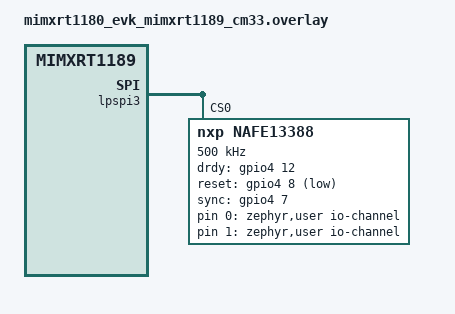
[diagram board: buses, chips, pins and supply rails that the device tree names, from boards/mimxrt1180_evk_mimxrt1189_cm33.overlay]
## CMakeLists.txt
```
# SPDX-License-Identifier: Apache-2.0

cmake_minimum_required(VERSION 3.28.0)

find_package(Zephyr REQUIRED HINTS $ENV{ZEPHYR_BASE})
project(nafe13388_sample)

target_sources(app PRIVATE src/main.c)
```

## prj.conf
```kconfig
CONFIG_ADC=y
CONFIG_SHELL=y
```

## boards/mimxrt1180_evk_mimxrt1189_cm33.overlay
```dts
/*
 * Copyright 2026 NXP
 *
 * SPDX-License-Identifier: Apache-2.0
 */

#include <zephyr/dt-bindings/adc/adc.h>
#include <zephyr/dt-bindings/adc/nafe13388.h>

/*
 * NAFE13388-UIM expansion board on the Arduino headers of the MIMXRT1180-EVK.
 *
 * Signal map, from the documents below. The UIM nets are on sheet 4 of the
 * UIM schematic (SCH-91005 rev C2), the EVK pads are in the EVK user manual
 * UM12021 rev 3.0, tables 32 to 35, and on sheet 26 of the EVK schematic
 * (SCH-50577 rev C4):
 *
 *   UIM net        UIM pin  Arduino  EVK pad
 *   MCU_SPI0_SCK   J2-5     D13      GPIO_SD_B1_01 (LPSPI3 SCK)
 *   MCU_SPI0_MISO  J2-6     D12      GPIO_SD_B1_03 (LPSPI3 SIN)
 *   MCU_SPI0_MOSI  J2-7     D11      GPIO_SD_B1_02 (LPSPI3 SOUT)
 *   ADC_SPI0_nCS   J2-8     D10      GPIO_SD_B1_00 (LPSPI3 PCS0)
 *   ADC_nRESET     J1-1     D7       GPIO_AD_08 (GPIO4 pin 8)
 *   ADC_SYNC       J1-2     D6       GPIO_AD_07 (GPIO4 pin 7)
 *   ADC_nDRDY      J1-4     D4       GPIO_AD_12 (GPIO4 pin 12)
 *   ADC_nINT       J1-5     D3       GPIO_AD_06 (GPIO4 pin 6)
 *
 * The acquisition time of a channel carries the ADC data rate code, here 19. It
 * only sets the conversion period when the second stage filter is on, so the
 * channels also select SINC1. A run on the board with the filter bypassed (the
 * default) converted a channel in about 220 us whatever the rate code was, which
 * is faster than the SPI transfer of a sequence at 500 kHz and made the continuous
 * reading report sequences as late. With code 19 and SINC1 one sequence of the two
 * channels takes about 20 ms on the board.
 *
 * ASSUMPTIONS, not shown by a document:
 * - The SPI address pin of the chip is tied low on the UIM (the schematic
 *   text shows GND on the same row as SPI_ADDR), so nxp,dev-addr is 0.
 * - DRDY is active high at the chip, although the UIM net is named nDRDY.
 *   The binding of the driver asks for an active high DRDY.
 * - 500 kHz is the SPI clock of the NXP example code for this board. The
 *   limit set by the digital isolators on the UIM is not known here.
 */
&pinctrl {
	pinmux_nafe13388_gpio: pinmux_nafe13388_gpio {
		group0 {
			pinmux = <&iomuxc_gpio_ad_06_gpio4_io06>,
				 <&iomuxc_gpio_ad_07_gpio4_io07>,
				 <&iomuxc_gpio_ad_08_gpio4_io08>,
				 <&iomuxc_gpio_ad_12_gpio4_io12>;
			drive-strength = "high";
			slew-rate = "fast";
		};
	};
};

&gpio4 {
	status = "okay";
};

&lpspi3 {
	status = "okay";
	pinctrl-0 = <&pinmux_lpspi3 &pinmux_nafe13388_gpio>;
	pinctrl-names = "default";

	nafe13388: nafe13388@0 {
		compatible = "nxp,nafe13388";
		reg = <0>;
		spi-max-frequency = <500000>;
		nxp,dev-addr = <0>;
		drdy-gpios = <&gpio4 12 GPIO_ACTIVE_HIGH>;
		reset-gpios = <&gpio4 8 GPIO_ACTIVE_LOW>;
		sync-gpios = <&gpio4 7 GPIO_ACTIVE_HIGH>;
		#address-cells = <1>;
		#size-cells = <0>;
		#io-channel-cells = <1>;

		/* Input AI1P against the analog common, read as a single ended voltage */
		channel@0 {
			reg = <0>;
			zephyr,gain = "ADC_GAIN_1";
			zephyr,reference = "ADC_REF_INTERNAL";
			zephyr,acquisition-time = <ADC_ACQ_TIME(ADC_ACQ_TIME_TICKS, 19)>;
			nxp,sinc = <NAFE13388_SINC1>;
			zephyr,resolution = <24>;
			zephyr,differential;
			zephyr,input-positive = <NAFE13388_HV_AI1>;
			zephyr,input-negative = <NAFE13388_HV_AICOM>;
		};

		/* Input AI2P against the analog common */
		channel@1 {
			reg = <1>;
			zephyr,gain = "ADC_GAIN_1";
			zephyr,reference = "ADC_REF_INTERNAL";
			zephyr,acquisition-time = <ADC_ACQ_TIME(ADC_ACQ_TIME_TICKS, 19)>;
			nxp,sinc = <NAFE13388_SINC1>;
			zephyr,resolution = <24>;
			zephyr,differential;
			zephyr,input-positive = <NAFE13388_HV_AI2>;
			zephyr,input-negative = <NAFE13388_HV_AICOM>;
		};
	};
};

/ {
	zephyr,user {
		io-channels = <&nafe13388 0>, <&nafe13388 1>;
	};
};
```

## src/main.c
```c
/*
 * Copyright 2026 NXP
 *
 * SPDX-License-Identifier: Apache-2.0
 */

/*
 * NAFE13388 sample. It shows three ways to read the chip:
 *
 * 1. One channel with the standard ADC API (adc_read_dt()).
 * 2. Two channels in one sequence with the standard ADC API (adc_read()).
 * 3. A continuous reading that calls a callback for every sequence, with the
 *    extension API of the driver (nafe13388_continuous_start()).
 *
 * The three readings run once at boot. Then the shell commands "nafe read",
 * "nafe seq" and "nafe cont" repeat them.
 */

#include <errno.h>
#include <stddef.h>
#include <stdint.h>
#include <zephyr/device.h>
#include <zephyr/devicetree.h>
#include <zephyr/drivers/adc.h>
#include <zephyr/drivers/adc/nafe13388.h>
#include <zephyr/kernel.h>
#include <zephyr/shell/shell.h>
#include <zephyr/shell/shell_uart.h>
#include <zephyr/sys/printk.h>
#include <zephyr/sys/util.h>

#if !DT_NODE_EXISTS(DT_PATH(zephyr_user)) || !DT_NODE_HAS_PROP(DT_PATH(zephyr_user), io_channels)
#error "No suitable devicetree overlay specified"
#endif

#define NUM_CHANNELS    2
#define SEQ_RESOLUTION  24
#define CONT_MAX        32
#define CONT_BOOT_COUNT 10
#define CONT_TIMEOUT    K_SECONDS(5)

/* The two channels of the overlay, io-channels of the zephyr,user node */
static const struct adc_dt_spec adc_channels[NUM_CHANNELS] = {
	ADC_DT_SPEC_GET_BY_IDX(DT_PATH(zephyr_user), 0),
	ADC_DT_SPEC_GET_BY_IDX(DT_PATH(zephyr_user), 1),
};

/* Print on the shell if there is one, else on the console */
#define SAY(sh, ...)                                                                               \
	do {                                                                                       \
		if ((sh) != NULL) {                                                                \
			shell_print((sh), __VA_ARGS__);                                            \
		} else {                                                                           \
			printk(__VA_ARGS__);                                                       \
			printk("\n");                                                              \
		}                                                                                  \
	} while (0)

/* Convert a raw value to millivolts with the channel settings of the devicetree */
static int32_t to_mv(size_t idx, int32_t raw, bool *ok)
{
	int32_t val = raw;

	*ok = (adc_raw_to_millivolts_dt(&adc_channels[idx], &val) == 0);

	return val;
}

static void say_value(const struct shell *sh, size_t idx, int32_t raw)
{
	bool ok;
	int32_t mv = to_mv(idx, raw, &ok);

	if (ok) {
		SAY(sh, "  channel %u: raw %d = %d mV", (unsigned int)idx, raw, mv);
	} else {
		SAY(sh, "  channel %u: raw %d (value in mV not available)", (unsigned int)idx, raw);
	}
}

/* Part 1: one channel, one call of adc_read_dt() */
static int read_one(const struct shell *sh, size_t idx)
{
	int32_t buf = 0;
	struct adc_sequence sequence = {
		.buffer = &buf,
		/* The buffer size is in bytes, not in samples */
		.buffer_size = sizeof(buf),
	};
	int err;

	(void)adc_sequence_init_dt(&adc_channels[idx], &sequence);

	err = adc_read_dt(&adc_channels[idx], &sequence);
	if (err < 0) {
		SAY(sh, "Single read failed (%d)", err);
		return err;
	}

	SAY(sh, "Single read:");
	say_value(sh, idx, buf);

	return 0;
}

/* Part 2: both channels in one sequence, one call of adc_read() */
static int read_sequence(const struct shell *sh)
{
	int32_t buf[NUM_CHANNELS] = {0};
	struct adc_sequence sequence = {
		.channels = BIT(adc_channels[0].channel_id) | BIT(adc_channels[1].channel_id),
		.buffer = buf,
		.buffer_size = sizeof(buf),
		.resolution = SEQ_RESOLUTION,
	};
	int err;

	err = adc_read(adc_channels[0].dev, &sequence);
	if (err < 0) {
		SAY(sh, "Sequence read failed (%d)", err);
		return err;
	}

	/* The values are in the order of the channel numbers */
	SAY(sh, "Sequence read:");
	for (size_t i = 0; i < NUM_CHANNELS; i++) {
		say_value(sh, i, buf[i]);
	}

	return 0;
}

/* Part 3: continuous reading. The callback runs on the thread of the driver. */
struct cont_ctx {
	struct k_sem done;
	int32_t data[CONT_MAX][NUM_CHANNELS];
	unsigned int want;
	unsigned int count;
	unsigned int late;
	int status;
};

static struct cont_ctx cont;

static int cont_cb(const struct device *dev, const int32_t *raw, unsigned int n, int status,
		   void *user_data)
{
	struct cont_ctx *ctx = user_data;

	ARG_UNUSED(dev);

	if (raw == NULL) {
		/* Fatal error, this is the last call */
		ctx->status = status;
		k_sem_give(&ctx->done);
		return 0;
	}

	if (status == -EOVERFLOW) {
		/* The data is valid, but the processing is late, sequences may be lost */
		ctx->late++;
	}

	if (n == NUM_CHANNELS && ctx->count < ctx->want) {
		for (unsigned int i = 0; i < n; i++) {
			ctx->data[ctx->count][i] = raw[i];
		}
		ctx->count++;
		if (ctx->count == ctx->want) {
			k_sem_give(&ctx->done);
		}
	}

	/* Keep this short and return 0 to go on, non-zero would stop the reading */
	return 0;
}

static int read_continuous(const struct shell *sh, unsigned int count)
{
	const struct nafe13388_seq seq = {
		.channels = BIT(adc_channels[0].channel_id) | BIT(adc_channels[1].channel_id),
		.mode = NAFE13388_MODE_MC,
		.resolution = SEQ_RESOLUTION,
	};
	const struct device *dev = adc_channels[0].dev;
	int err;

	count = CLAMP(count, 1, CONT_MAX);

	k_sem_init(&cont.done, 0, 1);
	cont.want = count;
	cont.count = 0;
	cont.late = 0;
	cont.status = 0;

	err = nafe13388_continuous_start(dev, &seq, cont_cb, &cont);
	if (err < 0) {
		/* -EBUSY if another reading is running: the device has one reading at a time */
		SAY(sh, "Continuous start failed (%d)", err);
		return err;
	}

	if (k_sem_take(&cont.done, CONT_TIMEOUT) != 0) {
		SAY(sh, "Continuous read timed out");
	}

	/* Stop at once. -EALREADY means that the driver ended the reading itself. */
	err = nafe13388_continuous_stop(dev, NAFE13388_STOP_ABORT);
	if (err < 0 && err != -EALREADY) {
		SAY(sh, "Continuous stop failed (%d)", err);
	}

	if (cont.status != 0) {
		SAY(sh, "Continuous read ended by an error (%d)", cont.status);
	}

	SAY(sh, "Continuous read: %u sequences, %u late", cont.count, cont.late);
	for (unsigned int i = 0; i < cont.count; i++) {
		bool ok0, ok1;
		int32_t mv0 = to_mv(0, cont.data[i][0], &ok0);
		int32_t mv1 = to_mv(1, cont.data[i][1], &ok1);

		SAY(sh, "  [%u] channel 0: %d mV, channel 1: %d mV", i, ok0 ? mv0 : cont.data[i][0],
		    ok1 ? mv1 : cont.data[i][1]);
	}

	return 0;
}

static int cmd_read(const struct shell *sh, size_t argc, char **argv)
{
	int err = 0;
	unsigned long idx = shell_strtoul(argv[1], 10, &err);

	if (err != 0 || idx >= NUM_CHANNELS) {
		shell_error(sh, "channel must be 0 or 1");
		return -EINVAL;
	}

	return read_one(sh, idx);
}

static int cmd_seq(const struct shell *sh, size_t argc, char **argv)
{
	return read_sequence(sh);
}

static int cmd_cont(const struct shell *sh, size_t argc, char **argv)
{
	unsigned int count = CONT_BOOT_COUNT;

	if (argc > 1) {
		int err = 0;

		count = shell_strtoul(argv[1], 10, &err);
		if (err != 0 || count == 0) {
			shell_error(sh, "count must be 1 to %d", CONT_MAX);
			return -EINVAL;
		}
	}

	return read_continuous(sh, count);
}

SHELL_STATIC_SUBCMD_SET_CREATE(
	sub_nafe,
	SHELL_CMD_ARG(read, NULL, "Read one channel with adc_read_dt()\nUsage: nafe read <0|1>",
		      cmd_read, 2, 0),
	SHELL_CMD(seq, NULL, "Read both channels in one sequence with adc_read()", cmd_seq),
	SHELL_CMD_ARG(cont, NULL,
		      "Continuous reading with a callback\nUsage: nafe cont [count 1..32]",
		      cmd_cont, 1, 1),
	SHELL_SUBCMD_SET_END);

SHELL_CMD_REGISTER(nafe, &sub_nafe, "NAFE13388 sample commands", NULL);

/*
 * The shell takes over the UART a little after boot. Printing with printk() at the same
 * time mixes the text with the prompt, so the boot output goes through the shell once it
 * is ready. It falls back to printk() if the shell does not come up.
 */
static const struct shell *boot_shell(void)
{
	const struct shell *sh = shell_backend_uart_get_ptr();

	for (int i = 0; i < 100 && !shell_ready(sh); i++) {
		k_msleep(10);
	}

	return shell_ready(sh) ? sh : NULL;
}

int main(void)
{
	const struct shell *sh = boot_shell();

	SAY(sh, "NAFE13388 sample");

	for (size_t i = 0; i < NUM_CHANNELS; i++) {
		int err;

		if (!adc_is_ready_dt(&adc_channels[i])) {
			printk("ADC device %s is not ready\n", adc_channels[i].dev->name);
			return 0;
		}

		err = adc_channel_setup_dt(&adc_channels[i]);
		if (err < 0) {
			printk("Could not set up channel %u (%d)\n", (unsigned int)i, err);
			return 0;
		}
	}

	(void)read_one(sh, 0);
	(void)read_sequence(sh);
	(void)read_continuous(sh, CONT_BOOT_COUNT);

	SAY(sh, "Try the shell commands: nafe read <0|1>, nafe seq, nafe cont [count]");

	return 0;
}
```
